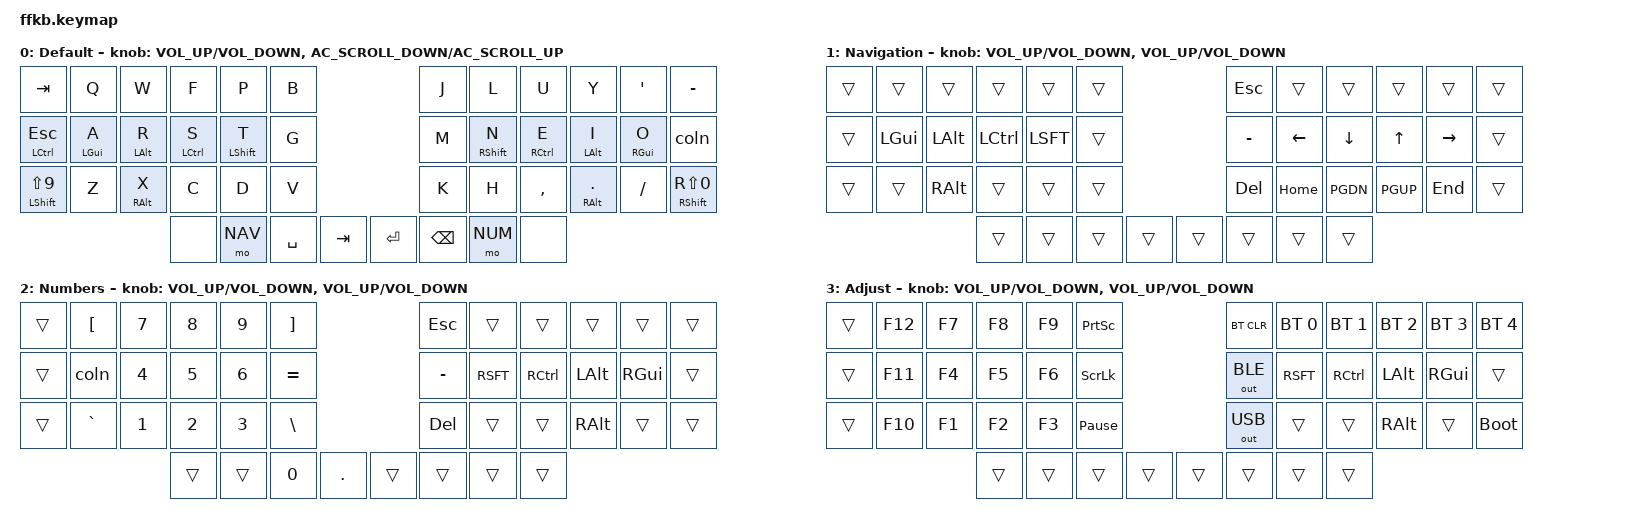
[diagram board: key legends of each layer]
#include <behaviors.dtsi>
#include <dt-bindings/zmk/keys.h>
#include <dt-bindings/zmk/rgb.h>
#include <dt-bindings/zmk/bt.h>
#include <dt-bindings/zmk/ext_power.h>
#include <dt-bindings/zmk/outputs.h>

#define DEFAULT 0
#define NAV     1
#define NUM     2
#define ADJUST  3

#define LSPO &hm LSHFT LS(N9)
#define RSPC &hm RSHFT RS(N0)

&caps_word {
    continue-list = <UNDERSCORE MINUS BACKSPACE DELETE>;
};

/ {

    combos {
        compatible = "zmk,combos";
        combo_lbrc {
            timeout-ms = <50>;
            key-positions = <17 29>;
            bindings = <&kp LS(LBKT)>;
        };
        combo_rbrc {
            timeout-ms = <50>;
            key-positions = <18 30>;
            bindings = <&kp RS(RBKT)>;
        };
        combo_lbkt {
            timeout-ms = <50>;
            key-positions = <5 17>;
            bindings = <&kp LBKT>;
        };
        combo_rbkt {
            timeout-ms = <50>;
            key-positions = <6 18>;
            bindings = <&kp RBKT>;
        };
        combo_capsword {
            timeout-ms = <50>;
            key-positions = <17 18>;
            bindings = <&caps_word>;
        };
        combo_lpar {
            timeout-ms = <50>;
            key-positions = <16 17>;
            bindings = <&kp LS(N9)>;
        };
        combo_rpar {
            timeout-ms = <50>;
            key-positions = <18 19>;
            bindings = <&kp RS(N0)>;
        };
    };

    sensors {
        compatible = "zmk,keymap-sensors";
        sensors = <&encoder_1 &encoder_2>;
    };

    behaviors {
        hm: homerow_mods {
            compatible = "zmk,behavior-hold-tap";
            label = "HOMEROW_MODS";
            #binding-cells = <2>;
            tapping-term-ms = <200>;
            quick_tap_ms = <0>;
            flavor = "balanced";
            bindings = <&kp>, <&kp>;
        };
        hs: homerow_shift {
            compatible = "zmk,behavior-hold-tap";
            label = "HOMEROW_SHIFT";
            #binding-cells = <2>;
            tapping-term-ms = <175>;
            quick_tap_ms = <0>;
            flavor = "balanced";
            bindings = <&kp>, <&kp>;
        };
        coln: inverted_colon {
            compatible = "zmk,behavior-mod-morph";
            label = "COLON";
            #binding-cells = <0>;
            bindings = <&kp LS(SCLN)>, <&kp SCLN>;
            mods = <(MOD_LSFT|MOD_RSFT)>;
        };
    };

    conditional_layers {
        compatible = "zmk,conditional-layers";
        tri_layer {
            if-layers = <NAV NUM>;
            then-layer = <3>;
        };
    };

    keymap {
        compatible = "zmk,keymap";

        default_layer {
            label = "Default";

            sensor-bindings = <&inc_dec_kp C_VOLUME_UP C_VOLUME_DOWN &inc_dec_kp C_AC_SCROLL_DOWN C_AC_SCROLL_UP>;

            bindings = <
    &kp TAB       &kp Q        &kp W        &kp F       &kp P         &kp B                                       &kp J         &kp L        &kp U         &kp Y       &kp SQT     &kp MINUS
    &hm LCTL ESC  &hm LGUI A   &hm LALT R   &hm LCTL S  &hs LSHIFT T  &kp G                                       &kp M         &hs RSHIFT N &hm RCTL E    &hm LALT I  &hm RGUI O  &coln
    LSPO          &kp Z        &hm RALT X   &kp C       &kp D         &kp V                                       &kp K         &kp H        &kp COMMA     &hm RALT DOT &kp FSLH    RSPC
                                         &none       &mo NAV       &kp SPC  &kp TAB  &kp ENTER   &kp BSPC &mo NUM      &none
            >;
        };

        nav_layer {
            label = "Navigation";
            
            sensor-bindings = <&inc_dec_kp C_VOLUME_UP C_VOLUME_DOWN &inc_dec_kp C_VOLUME_UP C_VOLUME_DOWN>;
            
            bindings = <
    &trans     &trans       &trans       &trans      &trans        &trans                                 &kp ESC       &trans       &trans        &trans      &trans      &trans
    &trans     &kp LGUI     &kp LALT     &kp LCTL    &kp LSFT      &trans                                 &kp MINUS     &kp LEFT     &kp DOWN      &kp UP      &kp RIGHT   &trans
    &trans     &trans       &kp RALT     &trans      &trans        &trans                                 &kp DEL       &kp HOME     &kp PGDN      &kp PGUP    &kp END     &trans
                                         &trans      &trans        &trans       &trans        &trans      &trans        &trans       &trans
            >;
        };

        num_layer {
            label = "Numbers";
            
            sensor-bindings = <&inc_dec_kp C_VOLUME_UP C_VOLUME_DOWN &inc_dec_kp C_VOLUME_UP C_VOLUME_DOWN>;
            
            bindings = <
    &trans     &kp LBKT     &kp N7       &kp N8      &kp N9        &kp RBKT                                    &kp ESC       &trans       &trans        &trans      &trans      &trans
    &trans     &coln        &kp N4       &kp N5      &kp N6        &kp EQL                                     &kp MINUS     &kp RSFT     &kp RCTL      &kp LALT    &kp RGUI    &trans
    &trans     &kp GRAVE    &kp N1       &kp N2      &kp N3        &kp BSLH                                    &kp DEL       &trans       &trans        &kp RALT    &trans      &trans
                                         &trans      &trans        &kp N0       &kp DOT       &trans           &trans        &trans       &trans
            >;
        };

        adj_layer {
            label = "Adjust";
            
            sensor-bindings = <&inc_dec_kp C_VOLUME_UP C_VOLUME_DOWN &inc_dec_kp C_VOLUME_UP C_VOLUME_DOWN>;
            
            bindings = <
    &trans     &kp F12      &kp F7       &kp F8      &kp F9        &kp PSCRN                                   &bt BT_CLR    &bt BT_SEL 0 &bt BT_SEL 1  &bt BT_SEL 2 &bt BT_SEL 3 &bt BT_SEL 4
    &trans     &kp F11      &kp F4       &kp F5      &kp F6        &kp SLCK                                    &out OUT_BLE  &kp RSFT     &kp RCTL      &kp LALT    &kp RGUI    &trans
    &trans     &kp F10      &kp F1       &kp F2      &kp F3        &kp PAUSE_BREAK                             &out OUT_USB  &trans       &trans        &kp RALT    &trans      &bootloader
                                         &trans      &trans        &trans       &trans        &trans           &trans        &trans       &trans
            >;
        };
    };
};
            /*
            bindings = <
    &trans     &trans       &trans       &trans      &trans        &trans                                      &trans        &trans       &trans        &trans      &trans      &trans
    &trans     &trans       &trans       &trans      &trans        &trans                                      &trans        &trans       &trans        &trans      &trans      &trans
    &trans     &trans       &trans       &trans      &trans        &trans                                      &trans        &trans       &trans        &trans      &trans      &trans
                                         &trans      &trans        &trans       &trans        &trans           &trans        &trans       &trans
            >;
            */
